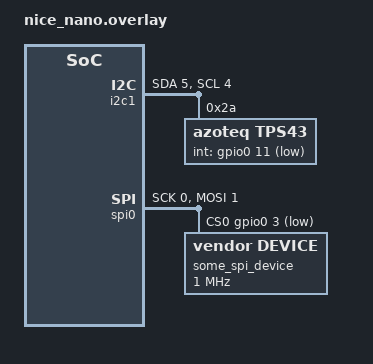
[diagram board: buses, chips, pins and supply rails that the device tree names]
&i2c1 {
    status = "okay";
    scl-pin = <4>;
    sda-pin = <5>;

    trackpad@2a {
        compatible = "azoteq,tps43";
        reg = <0x2a>;
        int-gpios = <&gpio0 11 GPIO_ACTIVE_LOW>;
        label = "TPS43";
    };
};

&spi0 {
    status = "okay";
    sck-pin = <0>;
    mosi-pin = <1>;
    cs-gpios = <&gpio0 3 GPIO_ACTIVE_LOW>;

    // Ze Placeholder for SPI device
    some_spi_device@00 {
        compatible = "vendor,device";
        reg = <0x00>;
        spi-max-frequency = <1000000>;
    };
};
